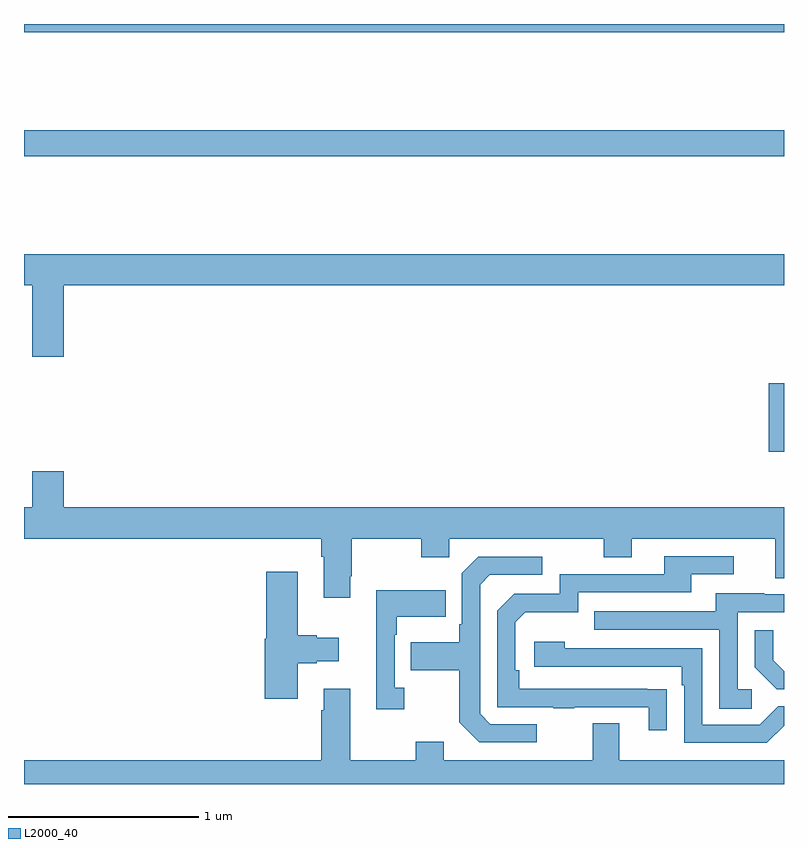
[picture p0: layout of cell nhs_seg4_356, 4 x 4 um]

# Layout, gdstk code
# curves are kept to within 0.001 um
import gdstk
lib = gdstk.Library(unit=1e-6, precision=1e-09)
def R(c, l, rs):  # rectangles x0, y0, x1, y1
    for r in rs: c.add(gdstk.rectangle(r[:2], r[2:], *l))
def P(c, l, *ps):  # polygons
    for p in ps: c.add(gdstk.Polygon(p, *l))
L2000_40 = (2000, 40)

nhs_seg4_356 = lib.new_cell('nhs_seg4_356')
R(nhs_seg4_356, L2000_40, [(132.92,758.65,133,759.01), (129,760.204,133,760.34), (129,760.856,133,760.9)])
P(nhs_seg4_356, L2000_40, [(129.208,759.524),(133,759.524),(133,759.688),(129,759.688),(129,759.524),(129.044,759.524),(129.044,759.15),(129.208,759.15)],
  [(130.717,757.993),(130.725,757.993),(130.725,758.192),(131.092,758.192),(131.092,758.093),(131.238,758.093),(131.238,758.192),(132.052,758.192),(132.052,758.093),(132.199,758.093),(132.199,758.192),(132.953,758.192),(132.953,757.984),(133,757.984),(133,758.356),(129.208,758.356),(129.208,758.545),(129.044,758.545),(129.044,758.356),(129,758.356),(129,758.192),(130.565,758.192),(130.565,758.096),(130.577,758.096),(130.577,757.881),(130.717,757.881)],
  [(132.383,757.4),(131.606,757.401),(131.606,757.498),(131.586,757.498),(131.586,757.752),(131.639,757.805),(131.916,757.805),(131.916,757.908),(132.511,757.908),(132.511,758.004),(132.736,758.004),(132.736,758.1),(132.371,758.1),(132.371,758.004),(131.82,758.004),(131.82,757.902),(131.58,757.902),(131.49,757.812),(131.49,757.305),(131.785,757.305),(131.785,757.3),(131.897,757.3),(131.897,757.305),(132.287,757.305),(132.287,757.182),(132.383,757.182)],
  [(131.698,757.215),(131.454,757.215),(131.4,757.269),(131.4,757.95),(131.451,758.001),(131.728,758.001),(131.728,758.097),(131.391,758.097),(131.304,758.01),(131.304,757.741),(131.292,757.741),(131.292,757.645),(131.035,757.645),(131.035,757.498),(131.292,757.498),(131.292,757.225),(131.397,757.119),(131.698,757.119)],
  [(130.441,757.535),(130.541,757.535),(130.541,757.547),(130.657,757.547),(130.657,757.669),(130.541,757.669),(130.541,757.682),(130.441,757.682),(130.441,758.017),(130.274,758.017),(130.274,757.665),(130.268,757.665),(130.268,757.35),(130.441,757.35)],
  [(131.002,757.406),(130.95,757.406),(130.95,757.685),(130.963,757.685),(130.963,757.781),(131.219,757.781),(131.219,757.921),(130.853,757.921),(130.853,757.293),(131.002,757.293)],
  [(132.829,757.398),(132.756,757.398),(132.756,757.803),(133,757.803),(133,757.899),(132.895,757.899),(132.895,757.903),(132.641,757.903),(132.641,757.809),(132.001,757.809),(132.001,757.713),(132.66,757.713),(132.66,757.297),(132.829,757.297)],
  [(133,757.494),(132.943,757.551),(132.943,757.708),(132.846,757.708),(132.846,757.514),(132.962,757.398),(133,757.398)],
  [(133,757.207),(133,757.308),(132.969,757.308),(132.873,757.212),(132.57,757.212),(132.57,757.614),(131.846,757.614),(131.846,757.648),(131.685,757.648),(131.685,757.518),(132.461,757.518),(132.461,757.421),(132.474,757.421),(132.474,757.116),(132.909,757.116)],
  [(133,757.024),(132.133,757.024),(132.133,757.219),(131.993,757.219),(131.993,757.024),(131.209,757.024),(131.209,757.123),(131.062,757.123),(131.062,757.024),(130.717,757.024),(130.717,757.402),(130.577,757.402),(130.577,757.289),(130.565,757.289),(130.565,757.024),(129,757.024),(129,756.9),(133,756.9)])

lib.write_gds('nhs_seg4_356.gds')
